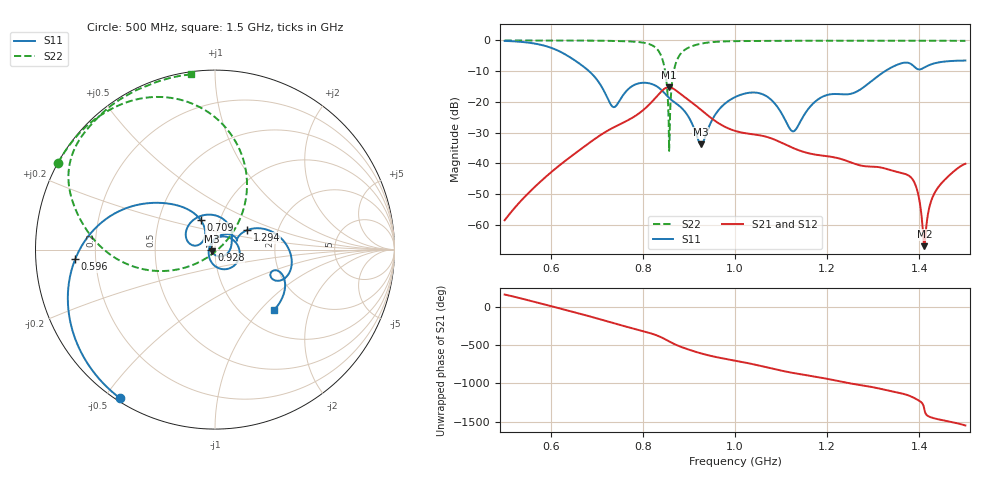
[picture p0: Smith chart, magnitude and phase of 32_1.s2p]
! TOUCHSTONE file generated by CST MICROWAVE STUDIO
! Date and time: Fri Oct  2 18:06:36 2020
! Project name: Scenario_1_Free_Space_out_of_line.cst
! Parameters = {Lambda=346.42; Step_1=17.321; dy1=-189.931; dx1=173; L_HA=400; MT=2.54; Rad_Dielectric=30; Rad_Lower=7.3; Rad_Upper=30; a_HA=580; a_WG=246; b_HA=500; b_WG=121; c_HA=0; c_WG=187; d_feed=85; h_feed=15; h_lower=18; h_upper=40}
! Header version: 2018
! Port assignment regex: !\s*Touchstone port\s*([0-9]+)\s*=\s*(CST MWS port|CST DS port)\s*([0-9]+|Zmin|Zmax)\s*\(\"(.*)\"\)(\s*mode\s*([0-9]+))?.*
! Touchstone port assignment:
! Touchstone port 1 = CST MWS port 1 ("")
! Touchstone port 2 = CST MWS port 2 ("")
# GHz S DB R 50
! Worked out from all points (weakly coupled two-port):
!   1003 points, 500 MHz to 1.5 GHz, reference 50 ohm
!   highest |S21| = -15.23 dB at 856 MHz (marker M1); lowest = -67.0 dB at 1.411 GHz (marker M2)
!   lowest |S11| = -33.9 dB at 926 MHz (marker M3), VSWR 1.04, Z = 48.2 - j0.873 ohm
!   |S11| at or under -10 dB: 683.2 MHz to 1.326 GHz (642.5 MHz wide, 64 % of centre)
!   |S22| runs from -36.0 to 0.0 dB; largest |S21 - S12| = 0.0034
!   S11 on the Smith chart (normalised r, x): 500 MHz: 0.01, -0.55; 596 MHz: 0.12, -0.03; 709 MHz: 0.81, +0.28; 928 MHz: 0.96, -0.01; 1.294 GHz: 1.40, +0.32; 1.5 GHz: 1.38, -1.19
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0.5  -0.15 -122.7  -58.58 157.4  -58.55 156.9  -0.01 151.1
0.596  -2.14 -176.0  -43.56 13.9  -43.55 13.9  -0.02 144.3
0.667  -8.05 138.9  -35.22 -98.3  -35.21 -98.3  -0.04 138.2
0.709  -14.68 115.9  -30.73 -168.0  -30.73 -167.9  -0.10 133.6
0.737  -21.72 145.4  -28.29 143.6  -28.29 143.6  -0.16 129.7
0.784  -14.32 146.4  -24.55 67.7  -24.55 67.7  -0.44 119.3
0.834  -15.34 70.7  -17.58 -24.1  -17.55 -24.0  -3.42 84.4
0.847  -17.16 49.0  -15.72 -60.7  -15.69 -60.8  -8.85 60.8
0.856  -18.58 36.6  -15.23 -89.8  -15.22 -89.9  -26.15 30.9
0.877  -21.07 6.6  -16.89 -150.8  -16.87 -150.7  -5.49 -173.3
0.926  -33.88 -153.4  -22.57 110.8  -22.56 110.8  -1.06 156.7
0.928  -33.79 -168.3  -22.81 107.4  -22.80 107.4  -1.00 156.1
1  -18.46 22.5  -29.45 15.8  -29.45 15.8  -0.23 140.2
1.067  -18.04 -60.4  -31.34 -68.8  -31.36 -68.9  -0.15 132.7
1.126  -29.62 165.8  -35.03 -144.5  -35.03 -144.5  -0.10 127.5
1.167  -20.91 65.9  -36.99 173.9  -36.98 173.9  -0.09 124.1
1.294  -13.50 31.1  -41.07 35.7  -41.09 35.6  -0.10 114.4
1.334  -9.25 15.3  -42.07 -14.5  -41.97 -14.3  -0.10 111.4
1.387  -8.26 -26.7  -45.62 -104.6  -45.65 -104.4  -0.10 107.3
1.411  -8.81 -18.6  -67.01 98.6  -65.37 107.0  -0.10 105.4
1.436  -7.34 -24.9  -48.95 -21.5  -48.97 -19.4  -0.10 103.4
1.5  -6.54 -45.7  -40.16 -108.8  -40.16 -108.7  -0.13 97.8
